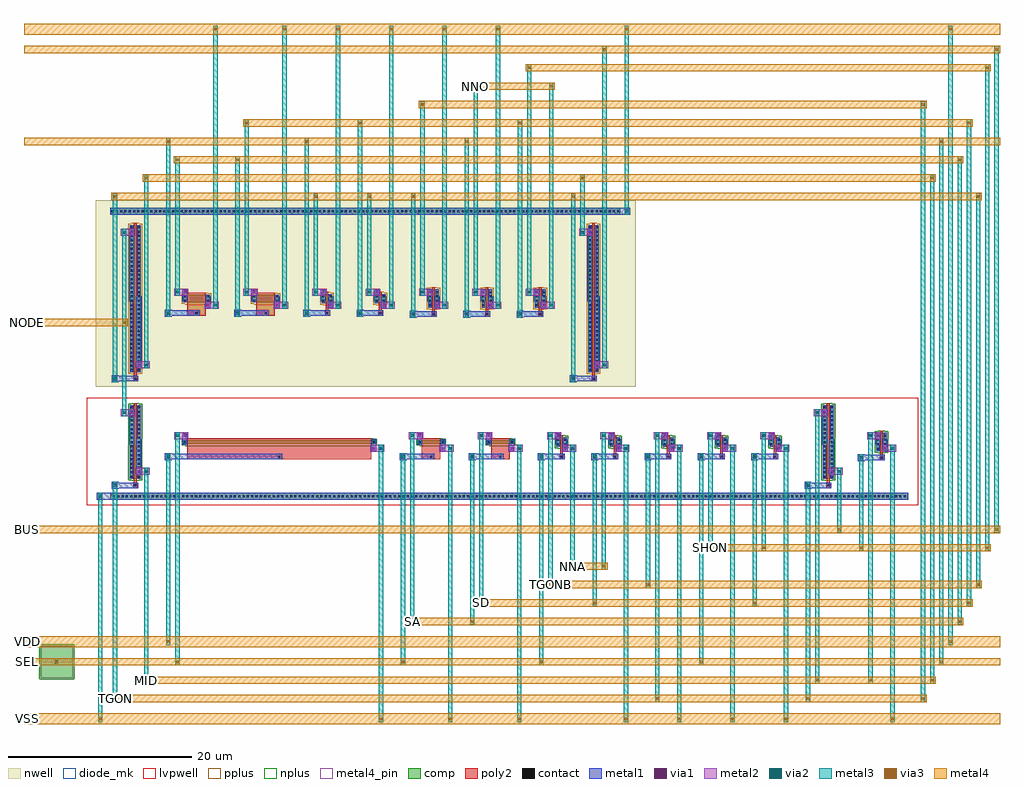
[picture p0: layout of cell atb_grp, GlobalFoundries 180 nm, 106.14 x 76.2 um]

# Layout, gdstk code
import gdstk
lib = gdstk.Library(unit=1e-6, precision=1e-09)
def R(c, l, rs):  # rectangles x0, y0, x1, y1
    for r in rs: c.add(gdstk.rectangle(r[:2], r[2:], *l))
def A(c, l, x, y, w, h, nx, ny, dx, dy):  # array of equal rectangles
    R(c, l, [(x+i*dx, y+j*dy, x+i*dx+w, y+j*dy+h) for i in range(nx) for j in range(ny)])
nwell = (21, 0)
comp = (22, 0)
poly2 = (30, 0)
pplus = (31, 0)
nplus = (32, 0)
contact = (33, 0)
metal1 = (34, 0)
via1 = (35, 0)
metal2 = (36, 0)
via2 = (38, 0)
via3 = (40, 0)
metal3 = (42, 0)
metal4 = (46, 0)
metal4_pin = (46, 10)
diode_mk = (115, 5)
lvpwell = (204, 0)

atb_grp = lib.new_cell('atb_grp')
R(atb_grp, nwell, [(-1.5,36.3,57.24,56.6)])
A(atb_grp, comp, 48.58, 29.8, 1.16, 1, 5, 1, 5.8, 0)
A(atb_grp, comp, 34.66, 44.9, 1.16, 2, 3, 1, 5.8, 0)
R(atb_grp, comp, [(-7.5,4.65,-4,8.15), (-8.9,6.1,-8.3,6.7), (0.13,24.03,86.83,24.77), (2.22,26.3,3.38,34.3), (77.58,26.3,78.74,34.3), (83.38,29.3,84.54,31.3), (8.02,30.09,28.9,30.51), (33.54,30.09,36.42,30.51), (41.06,30.09,43.94,30.51), (2.22,37.9,3.38,53.9), (52.06,37.9,53.22,53.9), (23.06,45.4,24.22,46.4), (28.86,45.4,30.02,46.4), (8.02,45.48,10.9,46.32), (15.54,45.48,18.42,46.32), (0.13,55.03,55.51,55.77)])
A(atb_grp, poly2, 48.96, 28.42, 0.4, 0.6, 5, 1, 5.8, 0)
A(atb_grp, poly2, 49.02, 29.02, 0.28, 2, 5, 1, 5.8, 0)
A(atb_grp, poly2, 35.04, 43.9, 0.4, 0.6, 3, 1, 5.8, 0)
A(atb_grp, poly2, 35.1, 44.5, 0.28, 2.62, 3, 1, 5.8, 0)
R(atb_grp, poly2, [(2.6,25.3,3,25.9), (77.96,25.3,78.36,25.9), (2.66,25.9,2.94,34.52), (78.02,25.9,78.3,34.52), (83.76,28.3,84.16,28.9), (8.46,28.42,28.46,30.73), (33.98,28.42,35.98,30.73), (41.5,28.42,43.5,30.73), (83.82,28.9,84.1,31.52), (2.6,36.9,3,37.5), (52.44,36.9,52.84,37.5), (2.66,37.5,2.94,54.12), (52.5,37.5,52.78,54.12), (8.46,44.02,10.46,46.54), (15.98,44.02,17.98,46.54), (23.44,44.02,23.84,44.62), (29.24,44.02,29.64,44.62), (23.5,44.62,23.78,46.62), (29.3,44.62,29.58,46.62)])
A(atb_grp, pplus, 34.87, 44.67, 0.74, 0.07, 3, 2, 5.8, 2.39)
A(atb_grp, pplus, 34.5, 44.74, 1.48, 2.32, 3, 1, 5.8, 0)
R(atb_grp, pplus, [(-8.92,6.08,-8.28,6.72), (0.11,24.01,86.85,24.055), (0.105,24.055,86.855,24.745), (0.11,24.745,86.85,24.79), (2.43,37.67,3.17,37.74), (52.27,37.67,53.01,37.74), (2.06,37.74,3.54,54.06), (51.9,37.74,53.38,54.06), (23.27,45.17,24.01,45.24), (29.07,45.17,29.81,45.24), (22.9,45.24,24.38,46.56), (28.7,45.24,30.18,46.56), (8.23,45.25,10.69,45.32), (15.75,45.25,18.21,45.32), (7.86,45.32,11.06,46.48), (15.38,45.32,18.58,46.48), (8.23,46.48,10.69,46.55), (15.75,46.48,18.21,46.55), (23.27,46.56,24.01,46.63), (29.07,46.56,29.81,46.63), (2.43,54.06,3.17,54.13), (52.27,54.06,53.01,54.13)])
A(atb_grp, nplus, 48.79, 29.57, 0.74, 0.07, 5, 2, 5.8, 1.39)
A(atb_grp, nplus, 48.42, 29.64, 1.48, 1.32, 5, 1, 5.8, 0)
R(atb_grp, nplus, [(-7.66,4.49,-3.84,8.31), (2.43,26.07,3.17,26.14), (77.79,26.07,78.53,26.14), (2.06,26.14,3.54,34.46), (77.42,26.14,78.9,34.46), (83.59,29.07,84.33,29.14), (83.22,29.14,84.7,31.46), (8.23,29.86,28.69,29.93), (33.75,29.86,36.21,29.93), (41.27,29.86,43.73,29.93), (7.86,29.93,29.06,30.67), (33.38,29.93,36.58,30.67), (40.9,29.93,44.1,30.67), (8.23,30.67,28.69,30.74), (33.75,30.67,36.21,30.74), (41.27,30.67,43.73,30.74), (83.59,31.46,84.33,31.53), (2.43,34.46,3.17,34.53), (77.79,34.46,78.53,34.53), (0.11,55.01,55.53,55.055), (0.105,55.055,55.535,55.745), (0.11,55.745,55.53,55.79)])
A(atb_grp, contact, 0.365, 24.29, 0.22, 0.22, 184, 1, 0.47, 0)
A(atb_grp, contact, 2.29, 26.43, 0.22, 0.22, 1, 17, 0, 0.47)
A(atb_grp, contact, 3.09, 26.43, 0.22, 0.22, 1, 17, 0, 0.47)
A(atb_grp, contact, 77.65, 26.43, 0.22, 0.22, 1, 17, 0, 0.47)
A(atb_grp, contact, 78.45, 26.43, 0.22, 0.22, 1, 17, 0, 0.47)
A(atb_grp, contact, 49.05, 28.61, 0.22, 0.22, 5, 1, 5.8, 0)
A(atb_grp, contact, 83.45, 29.485, 0.22, 0.22, 1, 4, 0, 0.47)
A(atb_grp, contact, 84.25, 29.485, 0.22, 0.22, 1, 4, 0, 0.47)
A(atb_grp, contact, 2.29, 38.035, 0.22, 0.22, 1, 34, 0, 0.47)
A(atb_grp, contact, 3.09, 38.035, 0.22, 0.22, 1, 34, 0, 0.47)
A(atb_grp, contact, 52.13, 38.035, 0.22, 0.22, 1, 34, 0, 0.47)
A(atb_grp, contact, 52.93, 38.035, 0.22, 0.22, 1, 34, 0, 0.47)
A(atb_grp, contact, 35.13, 44.09, 0.22, 0.22, 3, 1, 5.8, 0)
A(atb_grp, contact, 34.73, 45.085, 0.22, 0.22, 1, 4, 0, 0.47)
A(atb_grp, contact, 35.53, 45.085, 0.22, 0.22, 1, 4, 0, 0.47)
A(atb_grp, contact, 40.53, 45.085, 0.22, 0.22, 1, 4, 0, 0.47)
A(atb_grp, contact, 41.33, 45.085, 0.22, 0.22, 1, 4, 0, 0.47)
A(atb_grp, contact, 46.33, 45.085, 0.22, 0.22, 1, 4, 0, 0.47)
A(atb_grp, contact, 47.13, 45.085, 0.22, 0.22, 1, 4, 0, 0.47)
A(atb_grp, contact, 0.215, 55.29, 0.22, 0.22, 118, 1, 0.47, 0)
R(atb_grp, contact, [(-8.71,6.29,-8.49,6.51), (-5.86,6.29,-5.64,6.51), (2.69,25.49,2.91,25.71), (78.05,25.49,78.27,25.71), (83.85,28.49,84.07,28.71), (18.35,28.61,18.57,28.83), (34.87,28.61,35.09,28.83), (42.39,28.61,42.61,28.83), (48.65,29.955,48.87,30.175), (49.45,29.955,49.67,30.175), (54.45,29.955,54.67,30.175), (55.25,29.955,55.47,30.175), (60.25,29.955,60.47,30.175), (61.05,29.955,61.27,30.175), (66.05,29.955,66.27,30.175), (66.85,29.955,67.07,30.175), (71.85,29.955,72.07,30.175), (72.65,29.955,72.87,30.175), (8.09,30.19,8.31,30.41), (28.61,30.19,28.83,30.41), (33.61,30.19,33.83,30.41), (36.13,30.19,36.35,30.41), (41.13,30.19,41.35,30.41), (43.65,30.19,43.87,30.41), (48.65,30.425,48.87,30.645), (49.45,30.425,49.67,30.645), (54.45,30.425,54.67,30.645), (55.25,30.425,55.47,30.645), (60.25,30.425,60.47,30.645), (61.05,30.425,61.27,30.645), (66.05,30.425,66.27,30.645), (66.85,30.425,67.07,30.645), (71.85,30.425,72.07,30.645), (72.65,30.425,72.87,30.645), (2.69,37.09,2.91,37.31), (52.53,37.09,52.75,37.31), (9.35,44.21,9.57,44.43), (16.87,44.21,17.09,44.43), (23.53,44.21,23.75,44.43), (29.33,44.21,29.55,44.43), (8.09,45.555,8.31,45.775), (10.61,45.555,10.83,45.775), (15.61,45.555,15.83,45.775), (18.13,45.555,18.35,45.775), (23.13,45.555,23.35,45.775), (23.93,45.555,24.15,45.775), (28.93,45.555,29.15,45.775), (29.73,45.555,29.95,45.775), (8.09,46.025,8.31,46.245), (10.61,46.025,10.83,46.245), (15.61,46.025,15.83,46.245), (18.13,46.025,18.35,46.245), (23.13,46.025,23.35,46.245), (23.93,46.025,24.15,46.245), (28.93,46.025,29.15,46.245), (29.73,46.025,29.95,46.245)])
A(atb_grp, metal1, 31.54, 28.34, 0.76, 0.08, 3, 2, 7.52, 0.68)
A(atb_grp, metal1, 52.38, 28.34, 0.76, 0.08, 4, 2, 5.8, 0.68)
A(atb_grp, metal1, 46.58, 28.42, 2.93, 0.6, 5, 1, 5.8, 0)
A(atb_grp, metal1, 28.44, 29.32, 0.56, 1.26, 3, 1, 7.52, 0)
A(atb_grp, metal1, 49.28, 29.32, 0.56, 1.26, 5, 1, 5.8, 0)
A(atb_grp, metal1, 48.58, 29.8, 0.36, 0.22, 5, 1, 5.8, 0)
A(atb_grp, metal1, 33.44, 30.02, 0.56, 1.26, 3, 1, 7.52, 0)
A(atb_grp, metal1, 54.28, 30.02, 0.56, 1.26, 4, 1, 5.8, 0)
A(atb_grp, metal1, 49.38, 30.58, 0.36, 0.22, 5, 1, 5.8, 0)
A(atb_grp, metal1, 32.66, 43.82, 0.76, 0.08, 3, 2, 5.8, 0.68)
A(atb_grp, metal1, 32.66, 43.9, 2.93, 0.6, 3, 1, 5.8, 0)
A(atb_grp, metal1, 6.02, 43.94, 0.76, 0.08, 3, 2, 7.52, 0.68)
A(atb_grp, metal1, 34.66, 44.9, 0.36, 0.72, 3, 1, 5.8, 0)
A(atb_grp, metal1, 35.46, 44.9, 0.36, 0.02, 3, 1, 5.8, 0)
A(atb_grp, metal1, 17.96, 44.92, 0.56, 1.26, 6, 1, 5.8, 0)
A(atb_grp, metal1, 7.92, 45.62, 0.56, 1.26, 3, 1, 7.52, 0)
A(atb_grp, metal1, 28.76, 45.62, 0.56, 1.26, 4, 1, 5.8, 0)
A(atb_grp, metal1, 35.46, 46.18, 0.36, 0.72, 3, 1, 5.8, 0)
A(atb_grp, metal1, 34.66, 46.88, 0.36, 0.02, 3, 1, 5.8, 0)
R(atb_grp, metal1, [(-8.8,6.2,-8.4,6.6), (-5.95,6.2,-5.55,6.6), (-1.4,24,86.86,24.8), (0.22,25.22,0.98,25.3), (75.58,25.22,76.34,25.3), (0.22,25.3,3.15,25.9), (75.58,25.3,78.51,25.9), (0.22,25.9,0.98,25.98), (75.58,25.9,76.34,25.98), (2.22,26.3,2.58,30.02), (3.02,26.3,3.38,26.82), (77.58,26.3,77.94,30.02), (78.38,26.3,78.74,26.82), (2.92,26.82,3.48,30.58), (78.28,26.82,78.84,30.58), (81.38,28.22,82.14,28.3), (81.38,28.3,84.31,28.9), (6.02,28.34,6.78,28.42), (6.02,28.42,18.81,29.02), (31.54,28.42,35.33,29.02), (39.06,28.42,42.85,29.02), (81.38,28.9,82.14,28.98), (6.02,29.02,6.78,29.1), (83.38,29.3,83.74,30.02), (84.18,29.3,84.54,29.32), (84.08,29.32,84.64,30.58), (2.12,30.02,2.68,33.78), (7.92,30.02,8.48,31.28), (77.48,30.02,78.04,33.78), (83.28,30.02,83.84,31.28), (3.02,30.58,3.38,34.3), (78.38,30.58,78.74,34.3), (84.18,30.58,84.54,31.3), (83.38,31.28,83.74,31.3), (2.22,33.78,2.58,34.3), (77.58,33.78,77.94,34.3), (0.22,36.82,0.98,36.9), (50.06,36.82,50.82,36.9), (0.22,36.9,3.15,37.5), (50.06,36.9,52.99,37.5), (0.22,37.5,0.98,37.58), (50.06,37.5,50.82,37.58), (2.22,37.9,2.58,45.62), (3.02,37.9,3.38,38.42), (52.06,37.9,52.42,45.62), (52.86,37.9,53.22,38.42), (2.92,38.42,3.48,46.18), (52.76,38.42,53.32,46.18), (26.86,43.94,27.62,44.02), (6.02,44.02,9.81,44.62), (13.54,44.02,17.33,44.62), (21.06,44.02,23.99,44.62), (26.86,44.02,29.79,44.62), (26.86,44.62,27.62,44.7), (10.44,44.92,11,46.18), (23.06,45.4,23.42,45.62), (28.86,45.4,29.22,45.62), (8.02,45.48,8.38,45.62), (15.54,45.48,15.9,45.62), (2.12,45.62,2.68,53.38), (51.96,45.62,52.52,53.38), (3.02,46.18,3.38,53.9), (10.54,46.18,10.9,46.32), (18.06,46.18,18.42,46.32), (23.86,46.18,24.22,46.4), (29.66,46.18,30.02,46.4), (52.86,46.18,53.22,53.9), (2.22,53.38,2.58,53.9), (52.06,53.38,52.42,53.9), (0.1,55,56.64,55.8)])
A(atb_grp, via1, 31.79, 28.59, 0.26, 0.26, 3, 1, 7.52, 0)
A(atb_grp, via1, 52.63, 28.59, 0.26, 0.26, 4, 1, 5.8, 0)
A(atb_grp, via1, 28.59, 29.47, 0.26, 0.26, 3, 1, 7.52, 0)
A(atb_grp, via1, 49.43, 29.47, 0.26, 0.26, 5, 1, 5.8, 0)
A(atb_grp, via1, 33.59, 30.87, 0.26, 0.26, 3, 1, 7.52, 0)
A(atb_grp, via1, 54.43, 30.87, 0.26, 0.26, 4, 1, 5.8, 0)
A(atb_grp, via1, 32.91, 44.07, 0.26, 0.26, 3, 1, 5.8, 0)
A(atb_grp, via1, 6.27, 44.19, 0.26, 0.26, 3, 1, 7.52, 0)
A(atb_grp, via1, 18.11, 45.07, 0.26, 0.26, 6, 1, 5.8, 0)
A(atb_grp, via1, 8.07, 46.47, 0.26, 0.26, 3, 1, 7.52, 0)
A(atb_grp, via1, 28.91, 46.47, 0.26, 0.26, 4, 1, 5.8, 0)
R(atb_grp, via1, [(-5.88,6.27,-5.62,6.53), (-1.13,24.27,-0.87,24.53), (0.47,25.47,0.73,25.73), (75.83,25.47,76.09,25.73), (3.07,26.97,3.33,27.23), (78.43,26.97,78.69,27.23), (81.63,28.47,81.89,28.73), (6.27,28.59,6.53,28.85), (84.23,29.47,84.49,29.73), (8.07,30.87,8.33,31.13), (83.43,30.87,83.69,31.13), (2.27,33.37,2.53,33.63), (77.63,33.37,77.89,33.63), (0.47,37.07,0.73,37.33), (50.31,37.07,50.57,37.33), (3.07,38.57,3.33,38.83), (52.91,38.57,53.17,38.83), (27.11,44.19,27.37,44.45), (10.59,45.07,10.85,45.33), (2.27,52.97,2.53,53.23), (52.11,52.97,52.37,53.23), (56.11,55.27,56.37,55.53)])
A(atb_grp, metal2, 31.69, 28.49, 0.46, 0.46, 3, 1, 7.52, 0)
A(atb_grp, metal2, 52.53, 28.49, 0.46, 0.46, 4, 1, 5.8, 0)
A(atb_grp, metal2, 28.34, 29.22, 1.56, 0.76, 3, 1, 7.52, 0)
A(atb_grp, metal2, 49.18, 29.22, 1.56, 0.76, 5, 1, 5.8, 0)
A(atb_grp, metal2, 32.54, 30.62, 1.56, 0.76, 3, 1, 7.52, 0)
A(atb_grp, metal2, 53.38, 30.62, 1.56, 0.76, 4, 1, 5.8, 0)
A(atb_grp, metal2, 32.81, 43.97, 0.46, 0.46, 3, 1, 5.8, 0)
A(atb_grp, metal2, 6.17, 44.09, 0.46, 0.46, 3, 1, 7.52, 0)
A(atb_grp, metal2, 17.86, 44.82, 1.56, 0.76, 6, 1, 5.8, 0)
A(atb_grp, metal2, 7.02, 46.22, 1.56, 0.76, 3, 1, 7.52, 0)
A(atb_grp, metal2, 27.86, 46.22, 1.56, 0.76, 4, 1, 5.8, 0)
R(atb_grp, metal2, [(-5.95,6.2,-5.55,6.6), (-1.23,24.17,-0.77,24.63), (0.37,25.37,0.83,25.83), (75.73,25.37,76.19,25.83), (2.82,26.72,4.38,27.48), (78.18,26.72,79.74,27.48), (81.53,28.37,81.99,28.83), (6.17,28.49,6.63,28.95), (83.98,29.22,85.54,29.98), (7.02,30.62,8.58,31.38), (82.38,30.62,83.94,31.38), (1.22,33.12,2.78,33.88), (76.58,33.12,78.14,33.88), (0.37,36.97,0.83,37.43), (50.21,36.97,50.67,37.43), (2.82,38.32,4.38,39.08), (52.66,38.32,54.22,39.08), (27.01,44.09,27.47,44.55), (10.34,44.82,11.9,45.58), (1.22,52.72,2.78,53.48), (51.06,52.72,52.62,53.48), (56.01,55.17,56.47,55.63)])
A(atb_grp, via2, 31.79, 28.59, 0.26, 0.26, 3, 1, 7.52, 0)
A(atb_grp, via2, 52.63, 28.59, 0.26, 0.26, 4, 1, 5.8, 0)
A(atb_grp, via2, 29.39, 29.47, 0.26, 0.26, 3, 1, 7.52, 0)
A(atb_grp, via2, 50.23, 29.47, 0.26, 0.26, 5, 1, 5.8, 0)
A(atb_grp, via2, 32.79, 30.87, 0.26, 0.26, 3, 1, 7.52, 0)
A(atb_grp, via2, 53.63, 30.87, 0.26, 0.26, 4, 1, 5.8, 0)
A(atb_grp, via2, 32.91, 44.07, 0.26, 0.26, 3, 1, 5.8, 0)
A(atb_grp, via2, 6.27, 44.19, 0.26, 0.26, 3, 1, 7.52, 0)
A(atb_grp, via2, 18.91, 45.07, 0.26, 0.26, 6, 1, 5.8, 0)
A(atb_grp, via2, 7.27, 46.47, 0.26, 0.26, 3, 1, 7.52, 0)
A(atb_grp, via2, 28.11, 46.47, 0.26, 0.26, 4, 1, 5.8, 0)
R(atb_grp, via2, [(-5.88,6.27,-5.62,6.53), (-1.13,24.27,-0.87,24.53), (0.47,25.47,0.73,25.73), (75.83,25.47,76.09,25.73), (3.87,26.97,4.13,27.23), (79.23,26.97,79.49,27.23), (81.63,28.47,81.89,28.73), (6.27,28.59,6.53,28.85), (85.03,29.47,85.29,29.73), (7.27,30.87,7.53,31.13), (82.63,30.87,82.89,31.13), (1.47,33.37,1.73,33.63), (76.83,33.37,77.09,33.63), (0.47,37.07,0.73,37.33), (50.31,37.07,50.57,37.33), (3.87,38.57,4.13,38.83), (53.71,38.57,53.97,38.83), (27.11,44.19,27.37,44.45), (11.39,45.07,11.65,45.33), (1.47,52.97,1.73,53.23), (51.31,52.97,51.57,53.23), (56.11,55.27,56.37,55.53)])
A(atb_grp, via3, 29.39, 0.07, 0.26, 0.26, 3, 1, 7.52, 0)
A(atb_grp, via3, 56.03, 0.07, 0.26, 0.26, 4, 1, 5.8, 0)
A(atb_grp, via3, 18.91, 75.07, 0.26, 0.26, 5, 1, 5.8, 0)
R(atb_grp, via3, [(-1.13,0.07,-0.87,0.33), (85.03,0.07,85.29,0.33), (0.47,2.27,0.73,2.53), (59.43,2.27,59.69,2.53), (75.83,2.27,76.09,2.53), (88.33,2.27,88.59,2.53), (3.87,4.27,4.13,4.53), (76.83,4.27,77.09,4.53), (82.63,4.27,82.89,4.53), (89.33,4.27,89.59,4.53), (-5.88,6.27,-5.62,6.53), (7.27,6.27,7.53,6.53), (31.79,6.27,32.05,6.53), (46.83,6.27,47.09,6.53), (64.23,6.27,64.49,6.53), (90.33,6.27,90.59,6.53), (6.27,8.47,6.53,8.73), (91.33,8.47,91.59,8.73), (32.79,10.67,33.05,10.93), (39.31,10.67,39.57,10.93), (92.33,10.67,92.59,10.93), (40.31,12.67,40.57,12.93), (52.63,12.67,52.89,12.93), (70.03,12.67,70.29,12.93), (93.33,12.67,93.59,12.93), (47.83,14.67,48.09,14.93), (58.43,14.67,58.69,14.93), (94.33,14.67,94.59,14.93), (50.23,16.67,50.49,16.93), (53.63,16.67,53.89,16.93), (65.23,18.67,65.49,18.93), (71.03,18.67,71.29,18.93), (81.63,18.67,81.89,18.93), (95.33,18.67,95.59,18.93), (79.23,20.67,79.49,20.93), (96.33,20.67,96.59,20.93), (1.47,43.17,1.73,43.43), (0.47,56.87,0.73,57.13), (22.31,56.87,22.57,57.13), (28.11,56.87,28.37,57.13), (32.91,56.87,33.17,57.13), (50.31,56.87,50.57,57.13), (94.33,56.87,94.59,57.13), (3.87,58.87,4.13,59.13), (51.31,58.87,51.57,59.13), (89.33,58.87,89.59,59.13), (7.27,60.87,7.53,61.13), (13.79,60.87,14.05,61.13), (92.33,60.87,92.59,61.13), (6.27,62.87,6.53,63.13), (21.31,62.87,21.57,63.13), (38.71,62.87,38.97,63.13), (90.33,62.87,90.59,63.13), (14.79,64.87,15.05,65.13), (27.11,64.87,27.37,65.13), (44.51,64.87,44.77,65.13), (93.33,64.87,93.59,65.13), (33.91,66.87,34.17,67.13), (88.33,66.87,88.59,67.13), (39.71,68.87,39.97,69.13), (47.91,68.87,48.17,69.13), (45.51,70.87,45.77,71.13), (95.33,70.87,95.59,71.13), (53.71,72.87,53.97,73.13), (96.33,72.87,96.59,73.13), (11.39,75.07,11.65,75.33), (56.11,75.07,56.37,75.33), (91.33,75.07,91.59,75.33)])
A(atb_grp, metal3, 29.29, -0.18, 0.46, 30.16, 3, 1, 7.52, 0)
A(atb_grp, metal3, 55.93, -0.18, 0.46, 30.16, 4, 1, 5.8, 0)
A(atb_grp, metal3, 18.81, 44.82, 0.46, 30.76, 5, 1, 5.8, 0)
R(atb_grp, metal3, [(-1.23,-0.18,-0.77,24.78), (84.93,-0.18,85.39,29.98), (0.37,2.02,0.83,25.98), (59.33,2.02,59.79,31.38), (75.73,2.02,76.19,25.98), (88.23,2.02,88.69,67.38), (3.77,4.02,4.23,27.48), (76.73,4.02,77.19,33.88), (82.53,4.02,82.99,31.38), (89.23,4.02,89.69,59.38), (7.17,6.02,7.63,31.38), (31.69,6.02,32.15,29.1), (46.73,6.02,47.19,29.1), (64.13,6.02,64.59,29.1), (90.23,6.02,90.69,63.38), (-5.95,6.2,-5.55,6.6), (6.17,8.22,6.63,29.1), (91.23,8.22,91.69,75.58), (32.69,10.42,33.15,31.38), (39.21,10.42,39.67,29.1), (92.23,10.42,92.69,61.38), (40.21,12.42,40.67,31.38), (52.53,12.42,52.99,29.1), (69.93,12.42,70.39,29.1), (93.23,12.42,93.69,65.38), (47.73,14.42,48.19,31.38), (58.33,14.42,58.79,29.1), (94.23,14.42,94.69,57.38), (50.13,16.42,50.59,29.98), (53.53,16.42,53.99,31.38), (65.13,18.42,65.59,31.38), (70.93,18.42,71.39,31.38), (81.53,18.42,81.99,28.98), (95.23,18.42,95.69,71.38), (79.13,20.42,79.59,27.48), (96.23,20.42,96.69,73.38), (1.37,33.12,1.83,53.48), (0.37,36.82,0.83,57.38), (50.21,36.82,50.67,57.38), (3.77,38.32,4.23,59.38), (53.61,38.32,54.07,73.38), (32.81,43.82,33.27,57.38), (38.61,43.82,39.07,63.38), (44.41,43.82,44.87,65.38), (6.17,43.94,6.63,63.38), (13.69,43.94,14.15,61.38), (21.21,43.94,21.67,63.38), (27.01,43.94,27.47,65.38), (11.29,44.82,11.75,75.58), (47.81,44.82,48.27,69.38), (7.17,46.22,7.63,61.38), (14.69,46.22,15.15,65.38), (22.21,46.22,22.67,57.38), (28.01,46.22,28.47,57.38), (33.81,46.22,34.27,67.38), (39.61,46.22,40.07,69.38), (45.41,46.22,45.87,71.38), (51.21,52.72,51.67,59.38), (56.01,55.02,56.47,75.58)])
R(atb_grp, metal4, [(-9.3,-0.4,96.84,0.8), (0.2,2,88.86,2.8), (3.6,4,89.86,4.8), (-9.3,6,96.84,6.8), (-9.3,8,96.84,9.2), (32.52,10.4,92.86,11.2), (40.04,12.4,93.86,13.2), (47.56,14.4,94.86,15.2), (49.96,16.4,54.16,17.2), (64.96,18.4,95.86,19.2), (-9.3,20.4,96.84,21.2), (-9.3,42.9,1.98,43.7), (0.2,56.6,94.86,57.4), (3.6,58.6,89.86,59.4), (7,60.6,92.86,61.4), (-9.3,62.6,96.84,63.4), (14.52,64.6,93.86,65.4), (33.64,66.6,88.86,67.4), (39.44,68.6,48.44,69.4), (45.24,70.6,95.86,71.4), (-9.3,72.6,96.84,73.4), (-9.3,74.6,96.84,75.8)])
R(atb_grp, metal4_pin, [(-9.2,0,-8.6,0.4), (-9.2,6.2,-8.6,6.6), (-9.2,8.4,-8.6,8.8), (-9.2,20.6,-8.6,21), (-9.2,43.1,-8.6,43.5)])
R(atb_grp, diode_mk, [(-7.5,4.65,-4,8.15)])
R(atb_grp, lvpwell, [(-2.5,23.4,87.96,35.1)])
atb_grp.add(gdstk.Label('MID', (4,4.4), layer=46, texttype=0))
atb_grp.add(gdstk.Label('NNA', (50.36,16.8), layer=46, texttype=0))
atb_grp.add(gdstk.Label('NNO', (39.84,69), layer=46, texttype=0))
atb_grp.add(gdstk.Label('SA', (32.92,10.8), layer=46, texttype=0))
atb_grp.add(gdstk.Label('SD', (40.44,12.8), layer=46, texttype=0))
atb_grp.add(gdstk.Label('SHON', (65.36,18.8), layer=46, texttype=0))
atb_grp.add(gdstk.Label('TGON', (0.6,2.4), layer=46, texttype=0))
atb_grp.add(gdstk.Label('TGONB', (47.96,14.8), layer=46, texttype=0))
atb_grp.add(gdstk.Label('NODE', (-8.9,43.3), layer=46, texttype=10))
atb_grp.add(gdstk.Label('BUS', (-8.9,20.8), layer=46, texttype=10))
atb_grp.add(gdstk.Label('SEL', (-8.9,6.4), layer=46, texttype=10))
atb_grp.add(gdstk.Label('VDD', (-8.9,8.6), layer=46, texttype=10))
atb_grp.add(gdstk.Label('VSS', (-8.9,0.2), layer=46, texttype=10))

lib.write_gds('atb_grp.gds')
